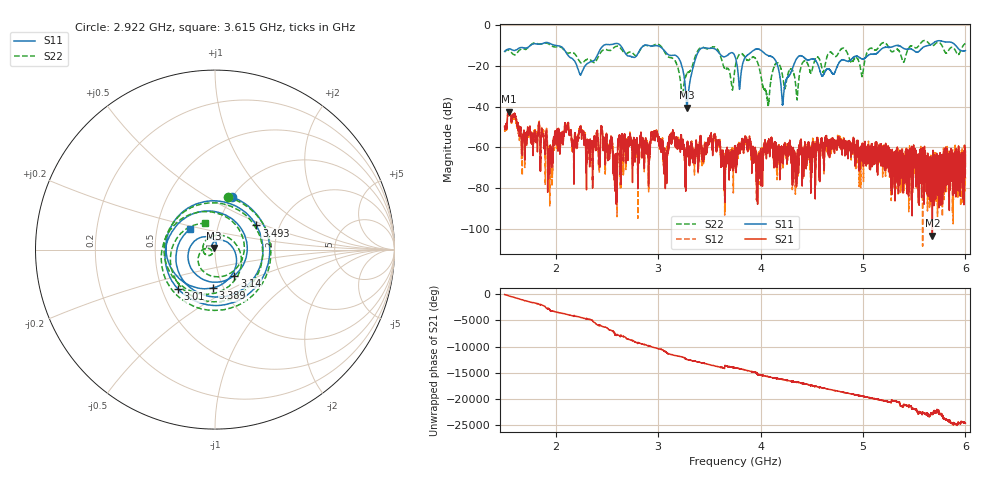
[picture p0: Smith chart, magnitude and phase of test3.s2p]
!Keysight Technologies N9923A: A.08.15
!Date: Monday, 19 February 2024 16:31:43
!Timezone: (GMT-05:00) Eastern Time (US & Canada)
!Model: N9923A
!Serial: MY52412730
!GPS Latitude:
!GPS Longitude:
!GPS TimeStamp: 0001-01-01 00:00:00Z
!GPS Seconds Since Last Read: 0
!CHECKSUM:1526691582
!Correction: S11(ON Q)S21(ON Q)S12(ON Q)S22(ON Q)
!S2P File: Measurements:S11,S21,S12,S22:
# Hz S DB R 50
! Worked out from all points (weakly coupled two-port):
!   10001 points, 1.5 GHz to 6 GHz, reference 50 ohm
!   highest |S21| = -42.54 dB at 1.545 GHz (marker M1); lowest = -103.3 dB at 5.677 GHz (marker M2)
!   lowest |S11| = -40.6 dB at 3.282 GHz (marker M3), VSWR 1.02, Z = 49.6 + j0.829 ohm
!   |S11| at or under -10 dB: start of sweep to 1.754 GHz; 1.992 GHz to 2.468 GHz (476.1 MHz wide, 21.4 % of centre); 2.901 GHz to 5.647 GHz (2.746 GHz wide, 64.2 % of centre) (the widest 3 of 7)
!   |S22| runs from -39.7 to -7.6 dB; largest |S21 - S12| = 0.0013
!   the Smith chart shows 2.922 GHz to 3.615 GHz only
!   S11 on the Smith chart (normalised r, x): 2.922 GHz: 1.01, +0.65; 3.01 GHz: 0.61, -0.29; 3.14 GHz: 1.18, -0.35; 3.389 GHz: 0.89, -0.40; 3.493 GHz: 1.52, +0.44; 3.615 GHz: 0.74, +0.18
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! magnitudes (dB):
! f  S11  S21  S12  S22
! 1.5 GHz  -13.0  -49.8  -51.7  -13.2
! 1.545 GHz  -11.7  -42.5  -43.1  -12.6
! 1.947 GHz  -9.1  -62.3  -58.8  -9.9
! 2.25 GHz  -23.7  -54.5  -52.7  -18.7
! 2.58 GHz  -9.1  -66.1  -64.3  -10.7
! 2.922 GHz  -10.2  -58.0  -59.1  -10.5
! 3 GHz  -10.3  -56.7  -56.4  -9.5
! 3.01 GHz  -10.4  -55.1  -57.3  -9.7
! 3.14 GHz  -14.9  -54.0  -53.5  -16.3
! 3.282 GHz  -40.6  -59.3  -59.6  -23.6
! 3.389 GHz  -13.4  -65.6  -66.4  -12.5
! 3.493 GHz  -11.5  -58.2  -57.2  -11.8
! 3.615 GHz  -14.9  -63.9  -65.0  -16.2
! 3.75 GHz  -15.3  -59.7  -60.2  -21.2
! 3.943 GHz  -12.1  -63.0  -60.3  -16.1
! 4.066 GHz  -14.9  -62.2  -60.3  -36.7
! 4.117 GHz  -15.9  -58.8  -58.7  -22.8
! 4.219 GHz  -37.3  -60.0  -65.1  -26.4
! 4.5 GHz  -16.6  -61.5  -69.0  -22.7
! 5.25 GHz  -11.0  -67.1  -69.2  -10.9
! 5.677 GHz  -9.2  -103.3  -65.1  -10.3
! 6 GHz  -12.6  -61.9  -75.5  -9.1
